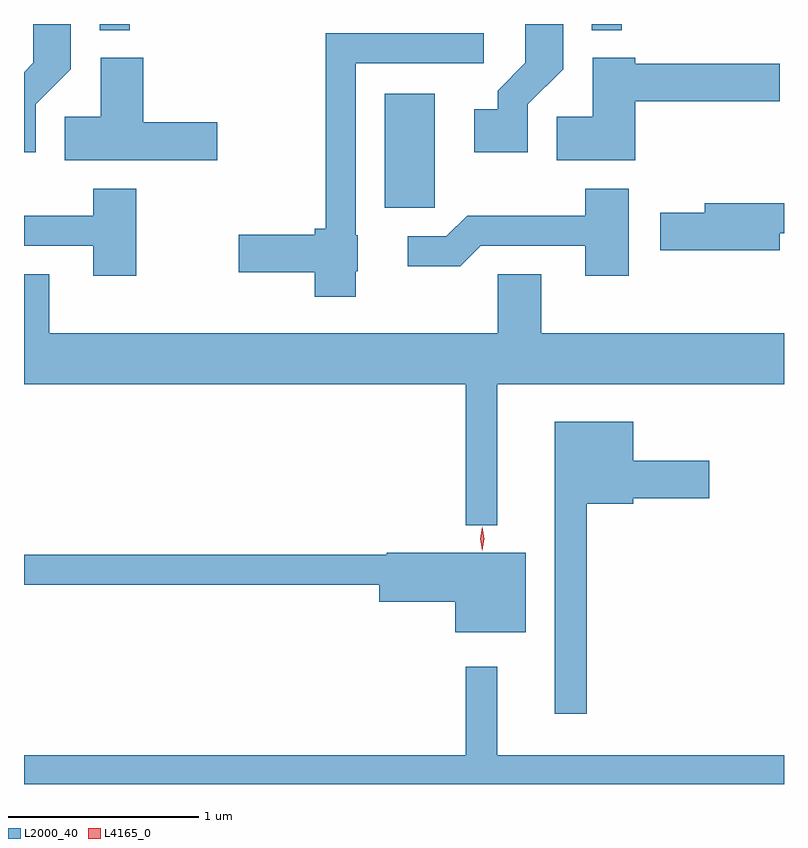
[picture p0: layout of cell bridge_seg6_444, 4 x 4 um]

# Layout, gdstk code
import gdstk
lib = gdstk.Library(unit=1e-6, precision=1e-09)
def R(c, l, rs):  # rectangles x0, y0, x1, y1
    for r in rs: c.add(gdstk.rectangle(r[:2], r[2:], *l))
def P(c, l, *ps):  # polygons
    for p in ps: c.add(gdstk.Polygon(p, *l))
L2000_40 = (2000, 40)
L4165_0 = (4165, 0)

bridge_seg6_444 = lib.new_cell('bridge_seg6_444')
R(bridge_seg6_444, L2000_40, [(611.566,1613.126,611.829,1613.724), (610.066,1614.058,610.224,1614.092), (612.656,1614.058,612.814,1614.092)])
P(bridge_seg6_444, L2000_40, [(612.319,1613.669),(612.504,1613.854),(612.504,1614.092),(612.306,1614.092),(612.306,1613.887),(612.161,1613.742),(612.161,1613.644),(612.036,1613.644),(612.036,1613.416),(612.319,1613.416)],
  [(609.729,1613.669),(609.914,1613.854),(609.914,1614.092),(609.716,1614.092),(609.716,1613.887),(609.667,1613.838),(609.667,1613.416),(609.729,1613.416)],
  [(611.414,1612.79),(611.424,1612.79),(611.424,1612.98),(611.414,1612.98),(611.414,1613.886),(612.088,1613.886),(612.088,1614.044),(611.256,1614.044),(611.256,1613.014),(611.196,1613.014),(611.196,1612.984),(610.796,1612.984),(610.796,1612.786),(611.196,1612.786),(611.196,1612.656),(611.414,1612.656)],
  [(610.684,1613.574),(610.294,1613.574),(610.294,1613.914),(610.071,1613.914),(610.071,1613.604),(609.881,1613.604),(609.881,1613.376),(610.684,1613.376)],
  [(612.884,1613.686),(613.644,1613.686),(613.644,1613.884),(612.884,1613.884),(612.884,1613.914),(612.661,1613.914),(612.661,1613.604),(612.471,1613.604),(612.471,1613.376),(612.884,1613.376)],
  [(610.259,1613.224),(610.031,1613.224),(610.031,1613.084),(609.667,1613.084),(609.667,1612.926),(610.031,1612.926),(610.031,1612.766),(610.259,1612.766)],
  [(612.849,1613.224),(612.621,1613.224),(612.621,1613.084),(611.999,1613.084),(611.889,1612.974),(611.688,1612.974),(611.688,1612.816),(611.962,1612.816),(612.072,1612.926),(612.621,1612.926),(612.621,1612.766),(612.849,1612.766)],
  [(613.644,1612.991),(613.667,1612.991),(613.667,1613.149),(613.251,1613.149),(613.251,1613.099),(613.016,1613.099),(613.016,1612.901),(613.644,1612.901)],
  [(612.159,1612.196),(613.667,1612.196),(613.667,1612.464),(612.389,1612.464),(612.389,1612.774),(612.161,1612.774),(612.161,1612.464),(609.799,1612.464),(609.799,1612.774),(609.667,1612.774),(609.667,1612.196),(611.991,1612.196),(611.991,1611.453),(612.159,1611.453)],
  [(612.629,1611.566),(612.874,1611.566),(612.874,1611.596),(613.274,1611.596),(613.274,1611.794),(612.874,1611.794),(612.874,1611.999),(612.461,1611.999),(612.461,1610.463),(612.629,1610.463)],
  [(612.309,1611.309),(611.575,1611.309),(611.575,1611.299),(609.667,1611.299),(609.667,1611.141),(611.536,1611.141),(611.536,1611.051),(611.936,1611.051),(611.936,1610.891),(612.309,1610.891)],
  [(613.667,1610.244),(612.159,1610.244),(612.159,1610.708),(611.991,1610.708),(611.991,1610.244),(609.667,1610.244),(609.667,1610.092),(613.667,1610.092)])
P(bridge_seg6_444, L4165_0, [(612.08,1611.32),(612.08,1611.321),(612.069,1611.384),(612.078,1611.446),(612.078,1611.447),(612.079,1611.446),(612.089,1611.384),(612.08,1611.321)])

lib.write_gds('bridge_seg6_444.gds')
